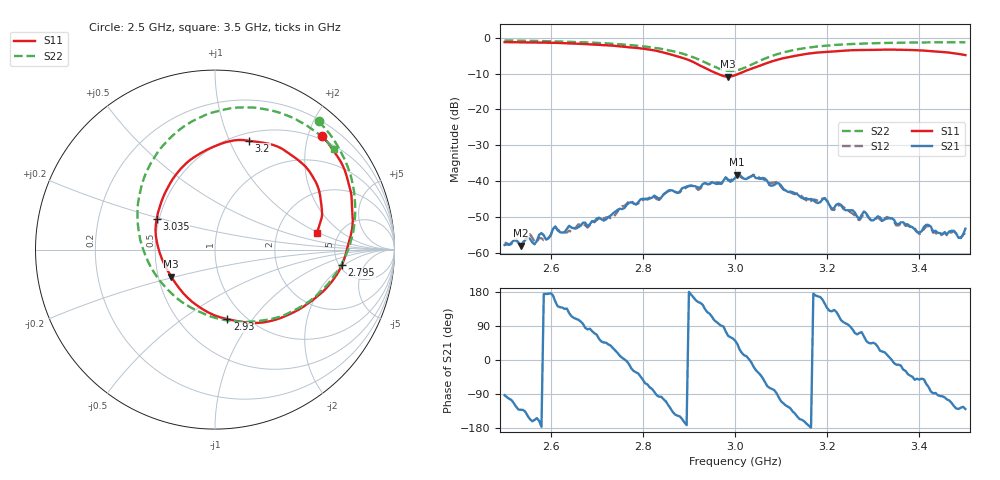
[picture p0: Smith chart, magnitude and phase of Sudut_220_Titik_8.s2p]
# Hz S RI R 50
! CMT, C1220, 16058040, 17.2.0/1
! Date: 15/08/2018 09:57:17
! Data: Format (Calibration Info)
! Freq  S11: Re/Im (F2)  S21: Re/Im (F2)  S12: Re/Im (F2)  S22: Re/Im (F2)
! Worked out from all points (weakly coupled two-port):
!   201 points, 2.5 GHz to 3.5 GHz, reference 50 ohm
!   highest |S21| = -38.24 dB at 3.005 GHz (marker M1); lowest = -58.0 dB at 2.535 GHz (marker M2)
!   lowest |S11| = -10.9 dB at 2.985 GHz (marker M3), VSWR 1.80, Z = 29.2 - j9.58 ohm
!   |S11| at or under -10 dB: 2.961 GHz to 3.009 GHz (47.88 MHz wide, 1.6 % of centre)
!   |S22| runs from -9.3 to -0.7 dB; largest |S21 - S12| = 0.00095
!   S11 on the Smith chart (normalised r, x): 2.5 GHz: 0.43, +2.25; 2.795 GHz: 5.26, -1.85; 2.93 GHz: 0.83, -0.76; 3.035 GHz: 0.48, +0.19; 3.2 GHz: 0.58, +1.19; 3.5 GHz: 3.40, +0.96
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2.5e9  0.5983 0.6326  -6.38e-05 -0.00128  -6.54e-05 -0.00138  0.5772 0.7142
2.535e9  0.6396 0.5804  -0.000828 -0.000942  -0.000798 -0.000941  0.6162 0.6712
2.555e9  0.6582 0.5529  -0.00143 -0.000632  -0.00164 -0.000764  0.6382 0.6456
2.57e9  0.6759 0.5285  -0.0013 -0.000654  -0.00138 -0.000318  0.6544 0.6229
2.61e9  0.7164 0.4579  -0.00209 0.00101  -0.00208 0.000974  0.694 0.5574
2.67e9  0.7579 0.3153  -0.000253 0.00261  -6.66e-05 0.00253  0.7475 0.4396
2.795e9  0.7063 -0.0867  0.00403 -0.00383  0.00381 -0.00359  0.7649 0.0754
2.835e9  0.6039 -0.2313  -0.00068 -0.00565  -0.000511 -0.00543  0.7053 -0.0803
2.93e9  0.068 -0.3873  -0.0075 0.00517  -0.00762 0.00471  0.2518 -0.3966
2.985e9  -0.2439 -0.1503  0.00455 0.00926  0.00421 0.00958  -0.1785 -0.2963
3e9  -0.2961 -0.051  0.00686 0.00859  0.00728 0.00821  -0.2775 -0.2078
3.005e9  -0.3081 -0.0175  0.00906 0.00825  0.00889 0.00766  -0.307 -0.174
3.035e9  -0.3246 0.1731  0.0116 -0.00107  0.0116 -0.000889  -0.4167 0.0552
3.1e9  -0.1557 0.485  -0.00282 -0.0082  -0.00307 -0.00773  -0.3411 0.508
3.17e9  0.0963 0.6066  -0.00539 0.000491  -0.00551 1.04e-05  -0.0737 0.7413
3.2e9  0.1905 0.6063  -0.00385 0.00359  -0.0037 0.00379  0.0381 0.7768
3.27e9  0.3802 0.5577  0.000949 0.00281  0.000835 0.00272  0.2601 0.7854
3.335e9  0.5077 0.4589  0.00299 0.000389  0.00305 0.0002  0.4141 0.7424
3.4e9  0.577 0.3374  0.00119 -0.00151  0.00104 -0.0015  0.5307 0.6776
3.42e9  0.5872 0.2894  0.000787 -0.00231  0.000791 -0.00223  0.5621 0.6559
3.49e9  0.5766 0.1191  -0.000942 -0.0013  -0.00105 -0.00122  0.6518 0.5717
3.5e9  0.566 0.095  -0.00137 -0.00168  -0.00133 -0.00137  0.6625 0.5595
